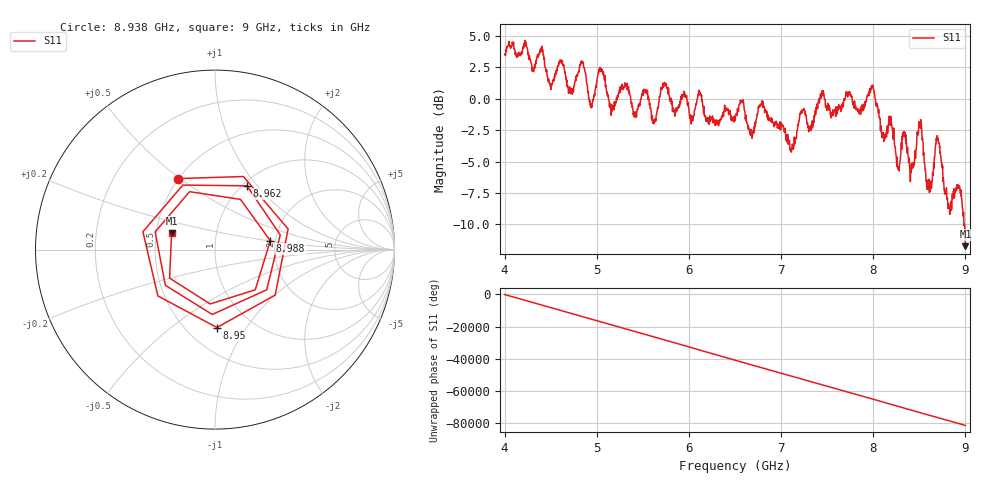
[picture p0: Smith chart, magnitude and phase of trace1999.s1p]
! Created with skrf 1.8.0 (http://scikit-rf.org).
# Hz S RI R 50.0
!freq ReS11 ImS11
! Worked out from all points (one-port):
!   1601 points, 4 GHz to 9 GHz, reference 50 ohm
!   lowest |S11| = -11.7 dB at 9 GHz (marker M1), VSWR 1.70, Z = 30.1 + j5.88 ohm
!   |S11| at or under -10 dB: 8.983791 GHz to 8.990528 GHz (6.737 MHz wide, 0.075 % of centre); 8.991174 GHz to end of sweep
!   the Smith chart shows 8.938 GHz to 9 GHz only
!   S11 on the Smith chart (normalised r, x): 8.938 GHz: 0.50, +0.49; 8.95 GHz: 0.70, -0.74; 8.962 GHz: 1.05, +0.89; 8.988 GHz: 1.88, +0.21; 9 GHz: 0.60, +0.12
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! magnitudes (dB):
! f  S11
! 4 GHz  3.6
! 4.625 GHz  3.1
! 4.716 GHz  0.4
! 4.844 GHz  2.9
! 4.938 GHz  -0.4
! 5.041 GHz  2.2
! 5.162 GHz  -0.5
! 5.25 GHz  0.5
! 5.875 GHz  -0.8
! 6.5 GHz  -1.7
! 6.684 GHz  -3.1
! 6.794 GHz  -0.4
! 7.125 GHz  -3.8
! 7.228 GHz  -1.1
! 7.75 GHz  0.3
! 7.988 GHz  0.9
! 8.269 GHz  -5.4
! 8.375 GHz  -4.3
! 8.422 GHz  -5.4
! 8.503 GHz  -2.1
! 8.597 GHz  -6.8
! 8.697 GHz  -3.2
! 8.825 GHz  -8.8
! 8.938 GHz  -7.0
! 8.95 GHz  -7.2
! 8.962 GHz  -8.0
! 8.988 GHz  -10.1
! 9 GHz  -11.7
